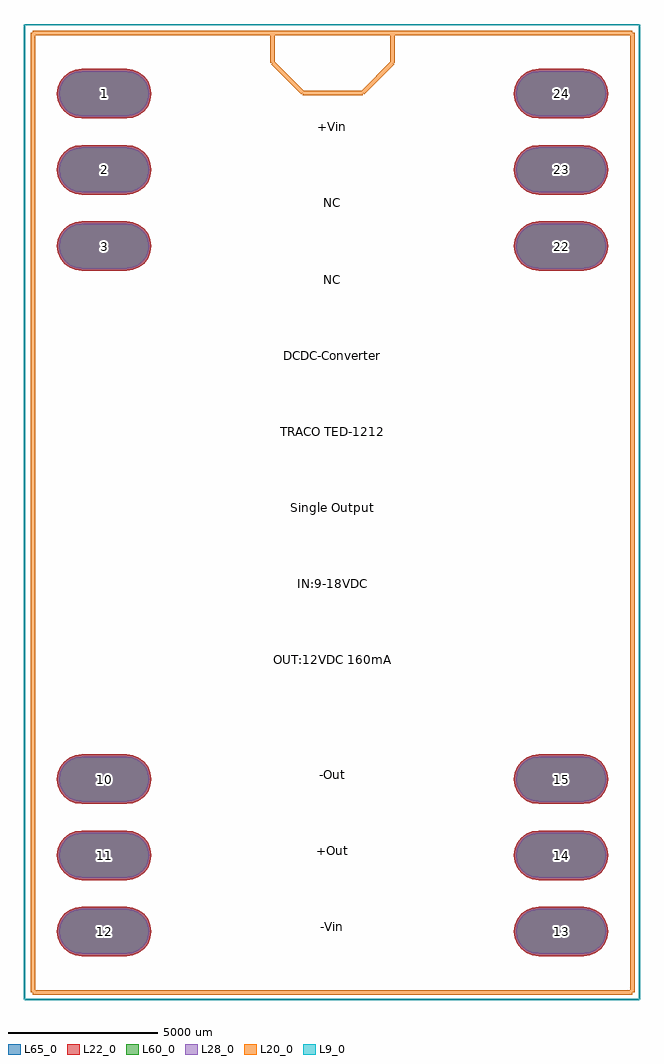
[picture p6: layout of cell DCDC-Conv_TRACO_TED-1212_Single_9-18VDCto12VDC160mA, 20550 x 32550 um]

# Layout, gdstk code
import gdstk
lib = gdstk.Library(unit=1e-6, precision=1e-09)
def P(c, l, *ps):  # polygons
    for p in ps: c.add(gdstk.Polygon(p, *l))
L9_0 = (9, 0)
L20_0 = (20, 0)
L22_0 = (22, 0)
L28_0 = (28, 0)
L60_0 = (60, 0)
L65_0 = (65, 0)

dcdc_conv_traco_ted_1212 = lib.new_cell('DCDC-Conv_TRACO_TED-1212_Single_9-18VDCto12VDC160mA')
P(dcdc_conv_traco_ted_1212, L22_0, [(14490.7,-825.57),(15989.3,-825.57),(16202.973,-797.439),(16402.085,-714.965),(16573.066,-583.766),(16704.265,-412.785),(16786.739,-213.673),(16814.87,0),(16786.739,213.673),(16704.265,412.785),(16573.066,583.766),(16402.085,714.965),(16202.973,797.439),(15989.3,825.57),(14490.7,825.57),(14277.027,797.439),(14077.915,714.965),(13906.934,583.766),(13775.735,412.785),(13693.261,213.673),(13665.13,0),(13693.261,-213.673),(13775.735,-412.785),(13906.934,-583.766),(14077.915,-714.965),(14277.027,-797.439)],
  [(14490.7,-3365.57),(15989.3,-3365.57),(16202.973,-3337.439),(16402.085,-3254.965),(16573.066,-3123.766),(16704.265,-2952.785),(16786.739,-2753.673),(16814.87,-2540),(16786.739,-2326.327),(16704.265,-2127.215),(16573.066,-1956.234),(16402.085,-1825.035),(16202.973,-1742.561),(15989.3,-1714.43),(14490.7,-1714.43),(14277.027,-1742.561),(14077.915,-1825.035),(13906.934,-1956.234),(13775.735,-2127.215),(13693.261,-2326.327),(13665.13,-2540),(13693.261,-2753.673),(13775.735,-2952.785),(13906.934,-3123.766),(14077.915,-3254.965),(14277.027,-3337.439)],
  [(14490.7,-5905.57),(15989.3,-5905.57),(16202.973,-5877.439),(16402.085,-5794.965),(16573.066,-5663.766),(16704.265,-5492.785),(16786.739,-5293.673),(16814.87,-5080),(16786.739,-4866.327),(16704.265,-4667.215),(16573.066,-4496.234),(16402.085,-4365.035),(16202.973,-4282.561),(15989.3,-4254.43),(14490.7,-4254.43),(14277.027,-4282.561),(14077.915,-4365.035),(13906.934,-4496.234),(13775.735,-4667.215),(13693.261,-4866.327),(13665.13,-5080),(13693.261,-5293.673),(13775.735,-5492.785),(13906.934,-5663.766),(14077.915,-5794.965),(14277.027,-5877.439)],
  [(14490.7,-23685.57),(15989.3,-23685.57),(16202.973,-23657.439),(16402.085,-23574.965),(16573.066,-23443.766),(16704.265,-23272.785),(16786.739,-23073.673),(16814.87,-22860),(16786.739,-22646.327),(16704.265,-22447.215),(16573.066,-22276.234),(16402.085,-22145.035),(16202.973,-22062.561),(15989.3,-22034.43),(14490.7,-22034.43),(14277.027,-22062.561),(14077.915,-22145.035),(13906.934,-22276.234),(13775.735,-22447.215),(13693.261,-22646.327),(13665.13,-22860),(13693.261,-23073.673),(13775.735,-23272.785),(13906.934,-23443.766),(14077.915,-23574.965),(14277.027,-23657.439)],
  [(14490.7,-26225.57),(15989.3,-26225.57),(16202.973,-26197.439),(16402.085,-26114.965),(16573.066,-25983.766),(16704.265,-25812.785),(16786.739,-25613.673),(16814.87,-25400),(16786.739,-25186.327),(16704.265,-24987.215),(16573.066,-24816.234),(16402.085,-24685.035),(16202.973,-24602.561),(15989.3,-24574.43),(14490.7,-24574.43),(14277.027,-24602.561),(14077.915,-24685.035),(13906.934,-24816.234),(13775.735,-24987.215),(13693.261,-25186.327),(13665.13,-25400),(13693.261,-25613.673),(13775.735,-25812.785),(13906.934,-25983.766),(14077.915,-26114.965),(14277.027,-26197.439)],
  [(14490.7,-28765.57),(15989.3,-28765.57),(16202.973,-28737.439),(16402.085,-28654.965),(16573.066,-28523.766),(16704.265,-28352.785),(16786.739,-28153.673),(16814.87,-27940),(16786.739,-27726.327),(16704.265,-27527.215),(16573.066,-27356.234),(16402.085,-27225.035),(16202.973,-27142.561),(15989.3,-27114.43),(14490.7,-27114.43),(14277.027,-27142.561),(14077.915,-27225.035),(13906.934,-27356.234),(13775.735,-27527.215),(13693.261,-27726.327),(13665.13,-27940),(13693.261,-28153.673),(13775.735,-28352.785),(13906.934,-28523.766),(14077.915,-28654.965),(14277.027,-28737.439)],
  [(-749.3,-28765.57),(749.3,-28765.57),(962.973,-28737.439),(1162.085,-28654.965),(1333.066,-28523.766),(1464.265,-28352.785),(1546.739,-28153.673),(1574.87,-27940),(1546.739,-27726.327),(1464.265,-27527.215),(1333.066,-27356.234),(1162.085,-27225.035),(962.973,-27142.561),(749.3,-27114.43),(-749.3,-27114.43),(-962.973,-27142.561),(-1162.085,-27225.035),(-1333.066,-27356.234),(-1464.265,-27527.215),(-1546.739,-27726.327),(-1574.87,-27940),(-1546.739,-28153.673),(-1464.265,-28352.785),(-1333.066,-28523.766),(-1162.085,-28654.965),(-962.973,-28737.439)],
  [(-749.3,-26225.57),(749.3,-26225.57),(962.973,-26197.439),(1162.085,-26114.965),(1333.066,-25983.766),(1464.265,-25812.785),(1546.739,-25613.673),(1574.87,-25400),(1546.739,-25186.327),(1464.265,-24987.215),(1333.066,-24816.234),(1162.085,-24685.035),(962.973,-24602.561),(749.3,-24574.43),(-749.3,-24574.43),(-962.973,-24602.561),(-1162.085,-24685.035),(-1333.066,-24816.234),(-1464.265,-24987.215),(-1546.739,-25186.327),(-1574.87,-25400),(-1546.739,-25613.673),(-1464.265,-25812.785),(-1333.066,-25983.766),(-1162.085,-26114.965),(-962.973,-26197.439)],
  [(-749.3,-23685.57),(749.3,-23685.57),(962.973,-23657.439),(1162.085,-23574.965),(1333.066,-23443.766),(1464.265,-23272.785),(1546.739,-23073.673),(1574.87,-22860),(1546.739,-22646.327),(1464.265,-22447.215),(1333.066,-22276.234),(1162.085,-22145.035),(962.973,-22062.561),(749.3,-22034.43),(-749.3,-22034.43),(-962.973,-22062.561),(-1162.085,-22145.035),(-1333.066,-22276.234),(-1464.265,-22447.215),(-1546.739,-22646.327),(-1574.87,-22860),(-1546.739,-23073.673),(-1464.265,-23272.785),(-1333.066,-23443.766),(-1162.085,-23574.965),(-962.973,-23657.439)],
  [(-749.3,-5905.57),(749.3,-5905.57),(962.973,-5877.439),(1162.085,-5794.965),(1333.066,-5663.766),(1464.265,-5492.785),(1546.739,-5293.673),(1574.87,-5080),(1546.739,-4866.327),(1464.265,-4667.215),(1333.066,-4496.234),(1162.085,-4365.035),(962.973,-4282.561),(749.3,-4254.43),(-749.3,-4254.43),(-962.973,-4282.561),(-1162.085,-4365.035),(-1333.066,-4496.234),(-1464.265,-4667.215),(-1546.739,-4866.327),(-1574.87,-5080),(-1546.739,-5293.673),(-1464.265,-5492.785),(-1333.066,-5663.766),(-1162.085,-5794.965),(-962.973,-5877.439)],
  [(-749.3,-3365.57),(749.3,-3365.57),(962.973,-3337.439),(1162.085,-3254.965),(1333.066,-3123.766),(1464.265,-2952.785),(1546.739,-2753.673),(1574.87,-2540),(1546.739,-2326.327),(1464.265,-2127.215),(1333.066,-1956.234),(1162.085,-1825.035),(962.973,-1742.561),(749.3,-1714.43),(-749.3,-1714.43),(-962.973,-1742.561),(-1162.085,-1825.035),(-1333.066,-1956.234),(-1464.265,-2127.215),(-1546.739,-2326.327),(-1574.87,-2540),(-1546.739,-2753.673),(-1464.265,-2952.785),(-1333.066,-3123.766),(-1162.085,-3254.965),(-962.973,-3337.439)],
  [(-749.3,-825.57),(749.3,-825.57),(962.973,-797.439),(1162.085,-714.965),(1333.066,-583.766),(1464.265,-412.785),(1546.739,-213.673),(1574.87,0),(1546.739,213.673),(1464.265,412.785),(1333.066,583.766),(1162.085,714.965),(962.973,797.439),(749.3,825.57),(-749.3,825.57),(-962.973,797.439),(-1162.085,714.965),(-1333.066,583.766),(-1464.265,412.785),(-1546.739,213.673),(-1574.87,0),(-1546.739,-213.673),(-1464.265,-412.785),(-1333.066,-583.766),(-1162.085,-714.965),(-962.973,-797.439)])
P(dcdc_conv_traco_ted_1212, L28_0, [(14490.7,-750.57),(15989.3,-750.57),(16183.562,-724.995),(16364.585,-650.013),(16520.033,-530.733),(16639.313,-375.285),(16714.295,-194.262),(16739.87,0),(16714.295,194.262),(16639.313,375.285),(16520.033,530.733),(16364.585,650.013),(16183.562,724.995),(15989.3,750.57),(14490.7,750.57),(14296.438,724.995),(14115.415,650.013),(13959.967,530.733),(13840.687,375.285),(13765.705,194.262),(13740.13,0),(13765.705,-194.262),(13840.687,-375.285),(13959.967,-530.733),(14115.415,-650.013),(14296.438,-724.995)],
  [(14490.7,-3290.57),(15989.3,-3290.57),(16183.562,-3264.995),(16364.585,-3190.013),(16520.033,-3070.733),(16639.313,-2915.285),(16714.295,-2734.262),(16739.87,-2540),(16714.295,-2345.738),(16639.313,-2164.715),(16520.033,-2009.267),(16364.585,-1889.987),(16183.562,-1815.005),(15989.3,-1789.43),(14490.7,-1789.43),(14296.438,-1815.005),(14115.415,-1889.987),(13959.967,-2009.267),(13840.687,-2164.715),(13765.705,-2345.738),(13740.13,-2540),(13765.705,-2734.262),(13840.687,-2915.285),(13959.967,-3070.733),(14115.415,-3190.013),(14296.438,-3264.995)],
  [(14490.7,-5830.57),(15989.3,-5830.57),(16183.562,-5804.995),(16364.585,-5730.013),(16520.033,-5610.733),(16639.313,-5455.285),(16714.295,-5274.262),(16739.87,-5080),(16714.295,-4885.738),(16639.313,-4704.715),(16520.033,-4549.267),(16364.585,-4429.987),(16183.562,-4355.005),(15989.3,-4329.43),(14490.7,-4329.43),(14296.438,-4355.005),(14115.415,-4429.987),(13959.967,-4549.267),(13840.687,-4704.715),(13765.705,-4885.738),(13740.13,-5080),(13765.705,-5274.262),(13840.687,-5455.285),(13959.967,-5610.733),(14115.415,-5730.013),(14296.438,-5804.995)],
  [(14490.7,-23610.57),(15989.3,-23610.57),(16183.562,-23584.995),(16364.585,-23510.013),(16520.033,-23390.733),(16639.313,-23235.285),(16714.295,-23054.262),(16739.87,-22860),(16714.295,-22665.738),(16639.313,-22484.715),(16520.033,-22329.267),(16364.585,-22209.987),(16183.562,-22135.005),(15989.3,-22109.43),(14490.7,-22109.43),(14296.438,-22135.005),(14115.415,-22209.987),(13959.967,-22329.267),(13840.687,-22484.715),(13765.705,-22665.738),(13740.13,-22860),(13765.705,-23054.262),(13840.687,-23235.285),(13959.967,-23390.733),(14115.415,-23510.013),(14296.438,-23584.995)],
  [(14490.7,-26150.57),(15989.3,-26150.57),(16183.562,-26124.995),(16364.585,-26050.013),(16520.033,-25930.733),(16639.313,-25775.285),(16714.295,-25594.262),(16739.87,-25400),(16714.295,-25205.738),(16639.313,-25024.715),(16520.033,-24869.267),(16364.585,-24749.987),(16183.562,-24675.005),(15989.3,-24649.43),(14490.7,-24649.43),(14296.438,-24675.005),(14115.415,-24749.987),(13959.967,-24869.267),(13840.687,-25024.715),(13765.705,-25205.738),(13740.13,-25400),(13765.705,-25594.262),(13840.687,-25775.285),(13959.967,-25930.733),(14115.415,-26050.013),(14296.438,-26124.995)],
  [(14490.7,-28690.57),(15989.3,-28690.57),(16183.562,-28664.995),(16364.585,-28590.013),(16520.033,-28470.733),(16639.313,-28315.285),(16714.295,-28134.262),(16739.87,-27940),(16714.295,-27745.738),(16639.313,-27564.715),(16520.033,-27409.267),(16364.585,-27289.987),(16183.562,-27215.005),(15989.3,-27189.43),(14490.7,-27189.43),(14296.438,-27215.005),(14115.415,-27289.987),(13959.967,-27409.267),(13840.687,-27564.715),(13765.705,-27745.738),(13740.13,-27940),(13765.705,-28134.262),(13840.687,-28315.285),(13959.967,-28470.733),(14115.415,-28590.013),(14296.438,-28664.995)],
  [(-749.3,-28690.57),(749.3,-28690.57),(943.562,-28664.995),(1124.585,-28590.013),(1280.033,-28470.733),(1399.313,-28315.285),(1474.295,-28134.262),(1499.87,-27940),(1474.295,-27745.738),(1399.313,-27564.715),(1280.033,-27409.267),(1124.585,-27289.987),(943.562,-27215.005),(749.3,-27189.43),(-749.3,-27189.43),(-943.562,-27215.005),(-1124.585,-27289.987),(-1280.033,-27409.267),(-1399.313,-27564.715),(-1474.295,-27745.738),(-1499.87,-27940),(-1474.295,-28134.262),(-1399.313,-28315.285),(-1280.033,-28470.733),(-1124.585,-28590.013),(-943.562,-28664.995)],
  [(-749.3,-26150.57),(749.3,-26150.57),(943.562,-26124.995),(1124.585,-26050.013),(1280.033,-25930.733),(1399.313,-25775.285),(1474.295,-25594.262),(1499.87,-25400),(1474.295,-25205.738),(1399.313,-25024.715),(1280.033,-24869.267),(1124.585,-24749.987),(943.562,-24675.005),(749.3,-24649.43),(-749.3,-24649.43),(-943.562,-24675.005),(-1124.585,-24749.987),(-1280.033,-24869.267),(-1399.313,-25024.715),(-1474.295,-25205.738),(-1499.87,-25400),(-1474.295,-25594.262),(-1399.313,-25775.285),(-1280.033,-25930.733),(-1124.585,-26050.013),(-943.562,-26124.995)],
  [(-749.3,-23610.57),(749.3,-23610.57),(943.562,-23584.995),(1124.585,-23510.013),(1280.033,-23390.733),(1399.313,-23235.285),(1474.295,-23054.262),(1499.87,-22860),(1474.295,-22665.738),(1399.313,-22484.715),(1280.033,-22329.267),(1124.585,-22209.987),(943.562,-22135.005),(749.3,-22109.43),(-749.3,-22109.43),(-943.562,-22135.005),(-1124.585,-22209.987),(-1280.033,-22329.267),(-1399.313,-22484.715),(-1474.295,-22665.738),(-1499.87,-22860),(-1474.295,-23054.262),(-1399.313,-23235.285),(-1280.033,-23390.733),(-1124.585,-23510.013),(-943.562,-23584.995)],
  [(-749.3,-5830.57),(749.3,-5830.57),(943.562,-5804.995),(1124.585,-5730.013),(1280.033,-5610.733),(1399.313,-5455.285),(1474.295,-5274.262),(1499.87,-5080),(1474.295,-4885.738),(1399.313,-4704.715),(1280.033,-4549.267),(1124.585,-4429.987),(943.562,-4355.005),(749.3,-4329.43),(-749.3,-4329.43),(-943.562,-4355.005),(-1124.585,-4429.987),(-1280.033,-4549.267),(-1399.313,-4704.715),(-1474.295,-4885.738),(-1499.87,-5080),(-1474.295,-5274.262),(-1399.313,-5455.285),(-1280.033,-5610.733),(-1124.585,-5730.013),(-943.562,-5804.995)],
  [(-749.3,-3290.57),(749.3,-3290.57),(943.562,-3264.995),(1124.585,-3190.013),(1280.033,-3070.733),(1399.313,-2915.285),(1474.295,-2734.262),(1499.87,-2540),(1474.295,-2345.738),(1399.313,-2164.715),(1280.033,-2009.267),(1124.585,-1889.987),(943.562,-1815.005),(749.3,-1789.43),(-749.3,-1789.43),(-943.562,-1815.005),(-1124.585,-1889.987),(-1280.033,-2009.267),(-1399.313,-2164.715),(-1474.295,-2345.738),(-1499.87,-2540),(-1474.295,-2734.262),(-1399.313,-2915.285),(-1280.033,-3070.733),(-1124.585,-3190.013),(-943.562,-3264.995)],
  [(-749.3,-750.57),(749.3,-750.57),(943.562,-724.995),(1124.585,-650.013),(1280.033,-530.733),(1399.313,-375.285),(1474.295,-194.262),(1499.87,0),(1474.295,194.262),(1399.313,375.285),(1280.033,530.733),(1124.585,650.013),(943.562,724.995),(749.3,750.57),(-749.3,750.57),(-943.562,724.995),(-1124.585,650.013),(-1280.033,530.733),(-1399.313,375.285),(-1474.295,194.262),(-1499.87,0),(-1474.295,-194.262),(-1399.313,-375.285),(-1280.033,-530.733),(-1124.585,-650.013),(-943.562,-724.995)])
P(dcdc_conv_traco_ted_1212, L60_0, [(14490.7,-750.57),(15989.3,-750.57),(16183.562,-724.995),(16364.585,-650.013),(16520.033,-530.733),(16639.313,-375.285),(16714.295,-194.262),(16739.87,0),(16714.295,194.262),(16639.313,375.285),(16520.033,530.733),(16364.585,650.013),(16183.562,724.995),(15989.3,750.57),(14490.7,750.57),(14296.438,724.995),(14115.415,650.013),(13959.967,530.733),(13840.687,375.285),(13765.705,194.262),(13740.13,0),(13765.705,-194.262),(13840.687,-375.285),(13959.967,-530.733),(14115.415,-650.013),(14296.438,-724.995)],
  [(14490.7,-3290.57),(15989.3,-3290.57),(16183.562,-3264.995),(16364.585,-3190.013),(16520.033,-3070.733),(16639.313,-2915.285),(16714.295,-2734.262),(16739.87,-2540),(16714.295,-2345.738),(16639.313,-2164.715),(16520.033,-2009.267),(16364.585,-1889.987),(16183.562,-1815.005),(15989.3,-1789.43),(14490.7,-1789.43),(14296.438,-1815.005),(14115.415,-1889.987),(13959.967,-2009.267),(13840.687,-2164.715),(13765.705,-2345.738),(13740.13,-2540),(13765.705,-2734.262),(13840.687,-2915.285),(13959.967,-3070.733),(14115.415,-3190.013),(14296.438,-3264.995)],
  [(14490.7,-5830.57),(15989.3,-5830.57),(16183.562,-5804.995),(16364.585,-5730.013),(16520.033,-5610.733),(16639.313,-5455.285),(16714.295,-5274.262),(16739.87,-5080),(16714.295,-4885.738),(16639.313,-4704.715),(16520.033,-4549.267),(16364.585,-4429.987),(16183.562,-4355.005),(15989.3,-4329.43),(14490.7,-4329.43),(14296.438,-4355.005),(14115.415,-4429.987),(13959.967,-4549.267),(13840.687,-4704.715),(13765.705,-4885.738),(13740.13,-5080),(13765.705,-5274.262),(13840.687,-5455.285),(13959.967,-5610.733),(14115.415,-5730.013),(14296.438,-5804.995)],
  [(14490.7,-23610.57),(15989.3,-23610.57),(16183.562,-23584.995),(16364.585,-23510.013),(16520.033,-23390.733),(16639.313,-23235.285),(16714.295,-23054.262),(16739.87,-22860),(16714.295,-22665.738),(16639.313,-22484.715),(16520.033,-22329.267),(16364.585,-22209.987),(16183.562,-22135.005),(15989.3,-22109.43),(14490.7,-22109.43),(14296.438,-22135.005),(14115.415,-22209.987),(13959.967,-22329.267),(13840.687,-22484.715),(13765.705,-22665.738),(13740.13,-22860),(13765.705,-23054.262),(13840.687,-23235.285),(13959.967,-23390.733),(14115.415,-23510.013),(14296.438,-23584.995)],
  [(14490.7,-26150.57),(15989.3,-26150.57),(16183.562,-26124.995),(16364.585,-26050.013),(16520.033,-25930.733),(16639.313,-25775.285),(16714.295,-25594.262),(16739.87,-25400),(16714.295,-25205.738),(16639.313,-25024.715),(16520.033,-24869.267),(16364.585,-24749.987),(16183.562,-24675.005),(15989.3,-24649.43),(14490.7,-24649.43),(14296.438,-24675.005),(14115.415,-24749.987),(13959.967,-24869.267),(13840.687,-25024.715),(13765.705,-25205.738),(13740.13,-25400),(13765.705,-25594.262),(13840.687,-25775.285),(13959.967,-25930.733),(14115.415,-26050.013),(14296.438,-26124.995)],
  [(14490.7,-28690.57),(15989.3,-28690.57),(16183.562,-28664.995),(16364.585,-28590.013),(16520.033,-28470.733),(16639.313,-28315.285),(16714.295,-28134.262),(16739.87,-27940),(16714.295,-27745.738),(16639.313,-27564.715),(16520.033,-27409.267),(16364.585,-27289.987),(16183.562,-27215.005),(15989.3,-27189.43),(14490.7,-27189.43),(14296.438,-27215.005),(14115.415,-27289.987),(13959.967,-27409.267),(13840.687,-27564.715),(13765.705,-27745.738),(13740.13,-27940),(13765.705,-28134.262),(13840.687,-28315.285),(13959.967,-28470.733),(14115.415,-28590.013),(14296.438,-28664.995)],
  [(-749.3,-28690.57),(749.3,-28690.57),(943.562,-28664.995),(1124.585,-28590.013),(1280.033,-28470.733),(1399.313,-28315.285),(1474.295,-28134.262),(1499.87,-27940),(1474.295,-27745.738),(1399.313,-27564.715),(1280.033,-27409.267),(1124.585,-27289.987),(943.562,-27215.005),(749.3,-27189.43),(-749.3,-27189.43),(-943.562,-27215.005),(-1124.585,-27289.987),(-1280.033,-27409.267),(-1399.313,-27564.715),(-1474.295,-27745.738),(-1499.87,-27940),(-1474.295,-28134.262),(-1399.313,-28315.285),(-1280.033,-28470.733),(-1124.585,-28590.013),(-943.562,-28664.995)],
  [(-749.3,-26150.57),(749.3,-26150.57),(943.562,-26124.995),(1124.585,-26050.013),(1280.033,-25930.733),(1399.313,-25775.285),(1474.295,-25594.262),(1499.87,-25400),(1474.295,-25205.738),(1399.313,-25024.715),(1280.033,-24869.267),(1124.585,-24749.987),(943.562,-24675.005),(749.3,-24649.43),(-749.3,-24649.43),(-943.562,-24675.005),(-1124.585,-24749.987),(-1280.033,-24869.267),(-1399.313,-25024.715),(-1474.295,-25205.738),(-1499.87,-25400),(-1474.295,-25594.262),(-1399.313,-25775.285),(-1280.033,-25930.733),(-1124.585,-26050.013),(-943.562,-26124.995)],
  [(-749.3,-23610.57),(749.3,-23610.57),(943.562,-23584.995),(1124.585,-23510.013),(1280.033,-23390.733),(1399.313,-23235.285),(1474.295,-23054.262),(1499.87,-22860),(1474.295,-22665.738),(1399.313,-22484.715),(1280.033,-22329.267),(1124.585,-22209.987),(943.562,-22135.005),(749.3,-22109.43),(-749.3,-22109.43),(-943.562,-22135.005),(-1124.585,-22209.987),(-1280.033,-22329.267),(-1399.313,-22484.715),(-1474.295,-22665.738),(-1499.87,-22860),(-1474.295,-23054.262),(-1399.313,-23235.285),(-1280.033,-23390.733),(-1124.585,-23510.013),(-943.562,-23584.995)],
  [(-749.3,-5830.57),(749.3,-5830.57),(943.562,-5804.995),(1124.585,-5730.013),(1280.033,-5610.733),(1399.313,-5455.285),(1474.295,-5274.262),(1499.87,-5080),(1474.295,-4885.738),(1399.313,-4704.715),(1280.033,-4549.267),(1124.585,-4429.987),(943.562,-4355.005),(749.3,-4329.43),(-749.3,-4329.43),(-943.562,-4355.005),(-1124.585,-4429.987),(-1280.033,-4549.267),(-1399.313,-4704.715),(-1474.295,-4885.738),(-1499.87,-5080),(-1474.295,-5274.262),(-1399.313,-5455.285),(-1280.033,-5610.733),(-1124.585,-5730.013),(-943.562,-5804.995)],
  [(-749.3,-3290.57),(749.3,-3290.57),(943.562,-3264.995),(1124.585,-3190.013),(1280.033,-3070.733),(1399.313,-2915.285),(1474.295,-2734.262),(1499.87,-2540),(1474.295,-2345.738),(1399.313,-2164.715),(1280.033,-2009.267),(1124.585,-1889.987),(943.562,-1815.005),(749.3,-1789.43),(-749.3,-1789.43),(-943.562,-1815.005),(-1124.585,-1889.987),(-1280.033,-2009.267),(-1399.313,-2164.715),(-1474.295,-2345.738),(-1499.87,-2540),(-1474.295,-2734.262),(-1399.313,-2915.285),(-1280.033,-3070.733),(-1124.585,-3190.013),(-943.562,-3264.995)],
  [(-749.3,-750.57),(749.3,-750.57),(943.562,-724.995),(1124.585,-650.013),(1280.033,-530.733),(1399.313,-375.285),(1474.295,-194.262),(1499.87,0),(1474.295,194.262),(1399.313,375.285),(1280.033,530.733),(1124.585,650.013),(943.562,724.995),(749.3,750.57),(-749.3,750.57),(-943.562,724.995),(-1124.585,650.013),(-1280.033,530.733),(-1399.313,375.285),(-1474.295,194.262),(-1499.87,0),(-1474.295,-194.262),(-1399.313,-375.285),(-1280.033,-530.733),(-1124.585,-650.013),(-943.562,-724.995)])
P(dcdc_conv_traco_ted_1212, L65_0, [(14490.7,-825.57),(15989.3,-825.57),(16202.973,-797.439),(16402.085,-714.965),(16573.066,-583.766),(16704.265,-412.785),(16786.739,-213.673),(16814.87,0),(16786.739,213.673),(16704.265,412.785),(16573.066,583.766),(16402.085,714.965),(16202.973,797.439),(15989.3,825.57),(14490.7,825.57),(14277.027,797.439),(14077.915,714.965),(13906.934,583.766),(13775.735,412.785),(13693.261,213.673),(13665.13,0),(13693.261,-213.673),(13775.735,-412.785),(13906.934,-583.766),(14077.915,-714.965),(14277.027,-797.439)],
  [(14490.7,-3365.57),(15989.3,-3365.57),(16202.973,-3337.439),(16402.085,-3254.965),(16573.066,-3123.766),(16704.265,-2952.785),(16786.739,-2753.673),(16814.87,-2540),(16786.739,-2326.327),(16704.265,-2127.215),(16573.066,-1956.234),(16402.085,-1825.035),(16202.973,-1742.561),(15989.3,-1714.43),(14490.7,-1714.43),(14277.027,-1742.561),(14077.915,-1825.035),(13906.934,-1956.234),(13775.735,-2127.215),(13693.261,-2326.327),(13665.13,-2540),(13693.261,-2753.673),(13775.735,-2952.785),(13906.934,-3123.766),(14077.915,-3254.965),(14277.027,-3337.439)],
  [(14490.7,-5905.57),(15989.3,-5905.57),(16202.973,-5877.439),(16402.085,-5794.965),(16573.066,-5663.766),(16704.265,-5492.785),(16786.739,-5293.673),(16814.87,-5080),(16786.739,-4866.327),(16704.265,-4667.215),(16573.066,-4496.234),(16402.085,-4365.035),(16202.973,-4282.561),(15989.3,-4254.43),(14490.7,-4254.43),(14277.027,-4282.561),(14077.915,-4365.035),(13906.934,-4496.234),(13775.735,-4667.215),(13693.261,-4866.327),(13665.13,-5080),(13693.261,-5293.673),(13775.735,-5492.785),(13906.934,-5663.766),(14077.915,-5794.965),(14277.027,-5877.439)],
  [(14490.7,-23685.57),(15989.3,-23685.57),(16202.973,-23657.439),(16402.085,-23574.965),(16573.066,-23443.766),(16704.265,-23272.785),(16786.739,-23073.673),(16814.87,-22860),(16786.739,-22646.327),(16704.265,-22447.215),(16573.066,-22276.234),(16402.085,-22145.035),(16202.973,-22062.561),(15989.3,-22034.43),(14490.7,-22034.43),(14277.027,-22062.561),(14077.915,-22145.035),(13906.934,-22276.234),(13775.735,-22447.215),(13693.261,-22646.327),(13665.13,-22860),(13693.261,-23073.673),(13775.735,-23272.785),(13906.934,-23443.766),(14077.915,-23574.965),(14277.027,-23657.439)],
  [(14490.7,-26225.57),(15989.3,-26225.57),(16202.973,-26197.439),(16402.085,-26114.965),(16573.066,-25983.766),(16704.265,-25812.785),(16786.739,-25613.673),(16814.87,-25400),(16786.739,-25186.327),(16704.265,-24987.215),(16573.066,-24816.234),(16402.085,-24685.035),(16202.973,-24602.561),(15989.3,-24574.43),(14490.7,-24574.43),(14277.027,-24602.561),(14077.915,-24685.035),(13906.934,-24816.234),(13775.735,-24987.215),(13693.261,-25186.327),(13665.13,-25400),(13693.261,-25613.673),(13775.735,-25812.785),(13906.934,-25983.766),(14077.915,-26114.965),(14277.027,-26197.439)],
  [(14490.7,-28765.57),(15989.3,-28765.57),(16202.973,-28737.439),(16402.085,-28654.965),(16573.066,-28523.766),(16704.265,-28352.785),(16786.739,-28153.673),(16814.87,-27940),(16786.739,-27726.327),(16704.265,-27527.215),(16573.066,-27356.234),(16402.085,-27225.035),(16202.973,-27142.561),(15989.3,-27114.43),(14490.7,-27114.43),(14277.027,-27142.561),(14077.915,-27225.035),(13906.934,-27356.234),(13775.735,-27527.215),(13693.261,-27726.327),(13665.13,-27940),(13693.261,-28153.673),(13775.735,-28352.785),(13906.934,-28523.766),(14077.915,-28654.965),(14277.027,-28737.439)],
  [(-749.3,-28765.57),(749.3,-28765.57),(962.973,-28737.439),(1162.085,-28654.965),(1333.066,-28523.766),(1464.265,-28352.785),(1546.739,-28153.673),(1574.87,-27940),(1546.739,-27726.327),(1464.265,-27527.215),(1333.066,-27356.234),(1162.085,-27225.035),(962.973,-27142.561),(749.3,-27114.43),(-749.3,-27114.43),(-962.973,-27142.561),(-1162.085,-27225.035),(-1333.066,-27356.234),(-1464.265,-27527.215),(-1546.739,-27726.327),(-1574.87,-27940),(-1546.739,-28153.673),(-1464.265,-28352.785),(-1333.066,-28523.766),(-1162.085,-28654.965),(-962.973,-28737.439)],
  [(-749.3,-26225.57),(749.3,-26225.57),(962.973,-26197.439),(1162.085,-26114.965),(1333.066,-25983.766),(1464.265,-25812.785),(1546.739,-25613.673),(1574.87,-25400),(1546.739,-25186.327),(1464.265,-24987.215),(1333.066,-24816.234),(1162.085,-24685.035),(962.973,-24602.561),(749.3,-24574.43),(-749.3,-24574.43),(-962.973,-24602.561),(-1162.085,-24685.035),(-1333.066,-24816.234),(-1464.265,-24987.215),(-1546.739,-25186.327),(-1574.87,-25400),(-1546.739,-25613.673),(-1464.265,-25812.785),(-1333.066,-25983.766),(-1162.085,-26114.965),(-962.973,-26197.439)],
  [(-749.3,-23685.57),(749.3,-23685.57),(962.973,-23657.439),(1162.085,-23574.965),(1333.066,-23443.766),(1464.265,-23272.785),(1546.739,-23073.673),(1574.87,-22860),(1546.739,-22646.327),(1464.265,-22447.215),(1333.066,-22276.234),(1162.085,-22145.035),(962.973,-22062.561),(749.3,-22034.43),(-749.3,-22034.43),(-962.973,-22062.561),(-1162.085,-22145.035),(-1333.066,-22276.234),(-1464.265,-22447.215),(-1546.739,-22646.327),(-1574.87,-22860),(-1546.739,-23073.673),(-1464.265,-23272.785),(-1333.066,-23443.766),(-1162.085,-23574.965),(-962.973,-23657.439)],
  [(-749.3,-5905.57),(749.3,-5905.57),(962.973,-5877.439),(1162.085,-5794.965),(1333.066,-5663.766),(1464.265,-5492.785),(1546.739,-5293.673),(1574.87,-5080),(1546.739,-4866.327),(1464.265,-4667.215),(1333.066,-4496.234),(1162.085,-4365.035),(962.973,-4282.561),(749.3,-4254.43),(-749.3,-4254.43),(-962.973,-4282.561),(-1162.085,-4365.035),(-1333.066,-4496.234),(-1464.265,-4667.215),(-1546.739,-4866.327),(-1574.87,-5080),(-1546.739,-5293.673),(-1464.265,-5492.785),(-1333.066,-5663.766),(-1162.085,-5794.965),(-962.973,-5877.439)],
  [(-749.3,-3365.57),(749.3,-3365.57),(962.973,-3337.439),(1162.085,-3254.965),(1333.066,-3123.766),(1464.265,-2952.785),(1546.739,-2753.673),(1574.87,-2540),(1546.739,-2326.327),(1464.265,-2127.215),(1333.066,-1956.234),(1162.085,-1825.035),(962.973,-1742.561),(749.3,-1714.43),(-749.3,-1714.43),(-962.973,-1742.561),(-1162.085,-1825.035),(-1333.066,-1956.234),(-1464.265,-2127.215),(-1546.739,-2326.327),(-1574.87,-2540),(-1546.739,-2753.673),(-1464.265,-2952.785),(-1333.066,-3123.766),(-1162.085,-3254.965),(-962.973,-3337.439)],
  [(-749.3,-825.57),(749.3,-825.57),(962.973,-797.439),(1162.085,-714.965),(1333.066,-583.766),(1464.265,-412.785),(1546.739,-213.673),(1574.87,0),(1546.739,213.673),(1464.265,412.785),(1333.066,583.766),(1162.085,714.965),(962.973,797.439),(749.3,825.57),(-749.3,825.57),(-962.973,797.439),(-1162.085,714.965),(-1333.066,583.766),(-1464.265,412.785),(-1546.739,213.673),(-1574.87,0),(-1546.739,-213.673),(-1464.265,-412.785),(-1333.066,-583.766),(-1162.085,-714.965),(-962.973,-797.439)])
dcdc_conv_traco_ted_1212.add(gdstk.FlexPath([(-2379.98,-29969.5),(17620,-29969.5)], 149.998, ends="flush", simple_path=True, layer=20, datatype=0))  # L20_0
dcdc_conv_traco_ted_1212.add(gdstk.FlexPath([(-2379.98,2029.46),(-2379.98,-29969.5)], 149.998, ends="flush", simple_path=True, layer=20, datatype=0))  # L20_0
dcdc_conv_traco_ted_1212.add(gdstk.FlexPath([(17620,2029.46),(-2379.98,2029.46)], 149.998, ends="flush", simple_path=True, layer=20, datatype=0))  # L20_0
dcdc_conv_traco_ted_1212.add(gdstk.FlexPath([(17620,-29969.5),(17620,2029.46)], 149.998, ends="flush", simple_path=True, layer=20, datatype=0))  # L20_0
dcdc_conv_traco_ted_1212.add(gdstk.FlexPath([(9618.98,1031.24),(9618.98,2029.46)], 149.998, ends="flush", simple_path=True, layer=20, datatype=0))  # L20_0
dcdc_conv_traco_ted_1212.add(gdstk.FlexPath([(8620.76,30.48),(9618.98,1031.24)], 149.998, ends="flush", simple_path=True, layer=20, datatype=0))  # L20_0
dcdc_conv_traco_ted_1212.add(gdstk.FlexPath([(6619.24,30.48),(8620.76,30.48)], 149.998, ends="flush", simple_path=True, layer=20, datatype=0))  # L20_0
dcdc_conv_traco_ted_1212.add(gdstk.FlexPath([(5621.02,1031.24),(6619.24,30.48)], 149.998, ends="flush", simple_path=True, layer=20, datatype=0))  # L20_0
dcdc_conv_traco_ted_1212.add(gdstk.FlexPath([(5621.02,2029.46),(5621.02,1031.24)], 149.998, ends="flush", simple_path=True, layer=20, datatype=0))  # L20_0
dcdc_conv_traco_ted_1212.add(gdstk.FlexPath([(-2650,-30200),(17850,-30200)], 50, ends="flush", simple_path=True, layer=9, datatype=0))  # L9_0
dcdc_conv_traco_ted_1212.add(gdstk.FlexPath([(-2650,2300),(17850,2300)], 50, ends="flush", simple_path=True, layer=9, datatype=0))  # L9_0
dcdc_conv_traco_ted_1212.add(gdstk.FlexPath([(17850,2300),(17850,-30200)], 50, ends="flush", simple_path=True, layer=9, datatype=0))  # L9_0
dcdc_conv_traco_ted_1212.add(gdstk.FlexPath([(-2650,2300),(-2650,-30200)], 50, ends="flush", simple_path=True, layer=9, datatype=0))  # L9_0
dcdc_conv_traco_ted_1212.add(gdstk.Label('24', (15240,0), layer=28, texttype=0))
dcdc_conv_traco_ted_1212.add(gdstk.Label('23', (15240,-2540), layer=28, texttype=0))
dcdc_conv_traco_ted_1212.add(gdstk.Label('22', (15240,-5080), layer=28, texttype=0))
dcdc_conv_traco_ted_1212.add(gdstk.Label('15', (15240,-22860), layer=28, texttype=0))
dcdc_conv_traco_ted_1212.add(gdstk.Label('14', (15240,-25400), layer=28, texttype=0))
dcdc_conv_traco_ted_1212.add(gdstk.Label('13', (15240,-27940), layer=28, texttype=0))
dcdc_conv_traco_ted_1212.add(gdstk.Label('12', (0,-27940), layer=28, texttype=0))
dcdc_conv_traco_ted_1212.add(gdstk.Label('11', (0,-25400), layer=28, texttype=0))
dcdc_conv_traco_ted_1212.add(gdstk.Label('10', (0,-22860), layer=28, texttype=0))
dcdc_conv_traco_ted_1212.add(gdstk.Label('3', (0,-5080), layer=28, texttype=0))
dcdc_conv_traco_ted_1212.add(gdstk.Label('2', (0,-2540), layer=28, texttype=0))
dcdc_conv_traco_ted_1212.add(gdstk.Label('1', (0,0), layer=28, texttype=0))
dcdc_conv_traco_ted_1212.add(gdstk.Label('DCDC-Converter', (7600,-8720), layer=9, texttype=0))
dcdc_conv_traco_ted_1212.add(gdstk.Label('TRACO TED-1212', (7600,-11260), layer=9, texttype=0))
dcdc_conv_traco_ted_1212.add(gdstk.Label('+Vin', (7600,-1100), layer=9, texttype=0))
dcdc_conv_traco_ted_1212.add(gdstk.Label('NC', (7600,-3640), layer=9, texttype=0))
dcdc_conv_traco_ted_1212.add(gdstk.Label('NC', (7600,-6180), layer=9, texttype=0))
dcdc_conv_traco_ted_1212.add(gdstk.Label('-Vin', (7600,-27770), layer=9, texttype=0))
dcdc_conv_traco_ted_1212.add(gdstk.Label('+Out', (7600,-25230), layer=9, texttype=0))
dcdc_conv_traco_ted_1212.add(gdstk.Label('-Out', (7600,-22690), layer=9, texttype=0))
dcdc_conv_traco_ted_1212.add(gdstk.Label('Single Output', (7600,-13800), layer=9, texttype=0))
dcdc_conv_traco_ted_1212.add(gdstk.Label('IN:9-18VDC', (7600,-16340), layer=9, texttype=0))
dcdc_conv_traco_ted_1212.add(gdstk.Label('OUT:12VDC 160mA', (7600,-18880), layer=9, texttype=0))
dcdc_conv_traco_ted_1212.add(gdstk.Label('type', (0,3850), layer=9, texttype=0))
dcdc_conv_traco_ted_1212.add(gdstk.Label('devicename', (0,5850), layer=9, texttype=0))

lib.write_gds('DCDC-Conv_TRACO_TED-1212_Single_9-18VDCto12VDC160mA.gds')
